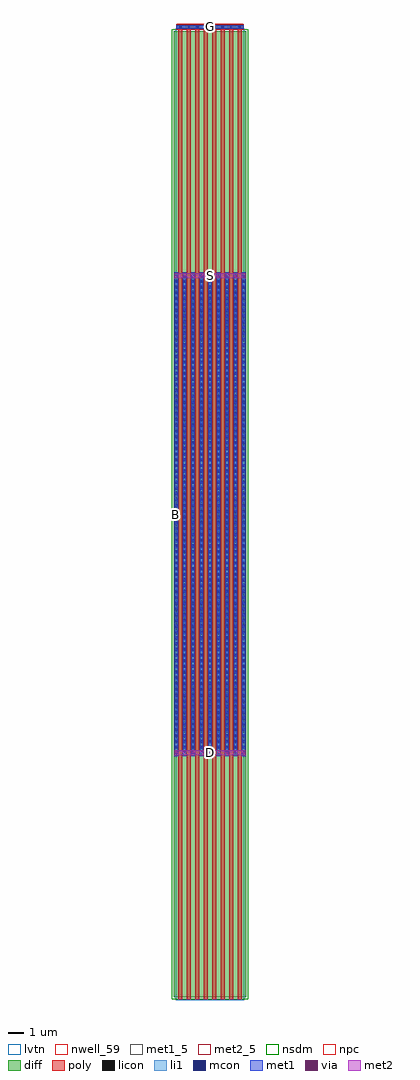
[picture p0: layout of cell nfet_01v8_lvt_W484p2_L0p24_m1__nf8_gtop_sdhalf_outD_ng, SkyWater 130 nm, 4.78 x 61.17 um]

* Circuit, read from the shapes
.subckt nfet_01v8_lvt_W484p2_L0p24_m1__nf8_gtop_sdhalf_outD_ng B D G S
XM1 S G D B sky130_fd_pr__nfet_01v8_lvt w=60.53 l=0.24 m=8
.ends

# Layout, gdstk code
import gdstk
lib = gdstk.Library(unit=1e-6, precision=1e-09)
def R(c, l, rs):  # rectangles x0, y0, x1, y1
    for r in rs: c.add(gdstk.rectangle(r[:2], r[2:], *l))
def A(c, l, x, y, w, h, nx, ny, dx, dy):  # array of equal rectangles
    R(c, l, [(x+i*dx, y+j*dy, x+i*dx+w, y+j*dy+h) for i in range(nx) for j in range(ny)])
nwell_59 = (64, 59)
diff = (65, 20)
poly = (66, 20)
licon = (66, 44)
li1 = (67, 20)
mcon = (67, 44)
met1_5 = (68, 5)
met1 = (68, 20)
via = (68, 44)
met2_5 = (69, 5)
met2 = (69, 20)
nsdm = (93, 44)
npc = (95, 20)
lvtn = (125, 44)

sky130_fd_pr__nfet_01v8_ = lib.new_cell('sky130_fd_pr__nfet_01v8_lvt_CQX9MQ')
R(sky130_fd_pr__nfet_01v8_, diff, [(-2.265,-30.42,2.265,30.11)])
A(sky130_fd_pr__nfet_01v8_, poly, -1.975, -30.55, 0.24, 60.77, 8, 1, 0.53, 0)
R(sky130_fd_pr__nfet_01v8_, poly, [(-2.12,30.22,2.12,30.55)])
A(sky130_fd_pr__nfet_01v8_, licon, -2.205, -15.2, 0.17, 0.17, 9, 89, 0.53, 0.34)
A(sky130_fd_pr__nfet_01v8_, licon, -1.94, 30.3, 0.17, 0.17, 8, 1, 0.53, 0)
A(sky130_fd_pr__nfet_01v8_, li1, -2.205, -15.335, 0.17, 30.36, 9, 1, 0.53, 0)
R(sky130_fd_pr__nfet_01v8_, li1, [(-2.12,30.3,2.12,30.47)])
A(sky130_fd_pr__nfet_01v8_, mcon, -2.205, -15.18, 0.17, 0.17, 9, 84, 0.53, 0.36)
A(sky130_fd_pr__nfet_01v8_, mcon, -1.94, 30.3, 0.17, 0.17, 8, 1, 0.53, 0)
A(sky130_fd_pr__nfet_01v8_, met1, -2.235, -15.315, 0.23, 30.32, 9, 1, 0.53, 0)
A(sky130_fd_pr__nfet_01v8_, met1, -2, 30.27, 0.29, 0.03, 8, 2, 0.53, 0.2)
R(sky130_fd_pr__nfet_01v8_, met1, [(-2.12,30.3,2.12,30.47)])
R(sky130_fd_pr__nfet_01v8_, nsdm, [(-2.39,-30.545,2.39,30.235)])
R(sky130_fd_pr__nfet_01v8_, npc, [(-2.04,30.2,2.04,30.57)])
R(sky130_fd_pr__nfet_01v8_, lvtn, [(-2.155,-30.6,2.155,30.29)])
sky130_fd_pr__nfet_01v8_.add(gdstk.Label('D0', (-2.12,-0.155), layer=67, texttype=5))
sky130_fd_pr__nfet_01v8_.add(gdstk.Label('G', (1.855,30.385), layer=67, texttype=5))
sky130_fd_pr__nfet_01v8_.add(gdstk.Label('G', (1.325,30.385), layer=67, texttype=5))
sky130_fd_pr__nfet_01v8_.add(gdstk.Label('G', (0.795,30.385), layer=67, texttype=5))
sky130_fd_pr__nfet_01v8_.add(gdstk.Label('G', (0.265,30.385), layer=67, texttype=5))
sky130_fd_pr__nfet_01v8_.add(gdstk.Label('G', (-0.265,30.385), layer=67, texttype=5))
sky130_fd_pr__nfet_01v8_.add(gdstk.Label('G', (-0.795,30.385), layer=67, texttype=5))
sky130_fd_pr__nfet_01v8_.add(gdstk.Label('G', (-1.325,30.385), layer=67, texttype=5))
sky130_fd_pr__nfet_01v8_.add(gdstk.Label('G', (-1.855,30.385), layer=67, texttype=5))
sky130_fd_pr__nfet_01v8_.add(gdstk.Label('S1', (-1.59,-0.155), layer=67, texttype=5))
sky130_fd_pr__nfet_01v8_.add(gdstk.Label('D2', (-1.06,-0.155), layer=67, texttype=5))
sky130_fd_pr__nfet_01v8_.add(gdstk.Label('S3', (-0.53,-0.155), layer=67, texttype=5))
sky130_fd_pr__nfet_01v8_.add(gdstk.Label('D4', (0,-0.155), layer=67, texttype=5))
sky130_fd_pr__nfet_01v8_.add(gdstk.Label('S5', (0.53,-0.155), layer=67, texttype=5))
sky130_fd_pr__nfet_01v8_.add(gdstk.Label('D6', (1.06,-0.155), layer=67, texttype=5))
sky130_fd_pr__nfet_01v8_.add(gdstk.Label('S7', (1.59,-0.155), layer=67, texttype=5))

nfet_01v8_lvt_w484p2_l0p = lib.new_cell('nfet_01v8_lvt_W484p2_L0p24_m1__nf8_gtop_sdhalf_outD_ng')
R(nfet_01v8_lvt_w484p2_l0p, nwell_59, [(0.05,30.345,0.15,30.445)])
R(nfet_01v8_lvt_w484p2_l0p, met1_5, [(0.145,60.82,4.385,61.05)])
A(nfet_01v8_lvt_w484p2_l0p, met1, 0.015, 15.285, 0.26, 0.32, 5, 1, 1.06, 0)
A(nfet_01v8_lvt_w484p2_l0p, met1, 0.545, 45.185, 0.26, 0.32, 4, 1, 1.06, 0)
R(nfet_01v8_lvt_w484p2_l0p, met1, [(0.145,60.82,4.385,61.05)])
A(nfet_01v8_lvt_w484p2_l0p, via, 0.07, 15.37, 0.15, 0.15, 5, 1, 1.06, 0)
A(nfet_01v8_lvt_w484p2_l0p, via, 0.6, 45.27, 0.15, 0.15, 4, 1, 1.06, 0)
R(nfet_01v8_lvt_w484p2_l0p, met2_5, [(0.01,15.285,4.52,15.605), (0.01,45.185,4.52,45.505)])
R(nfet_01v8_lvt_w484p2_l0p, met2, [(0.01,15.285,4.52,15.605), (0.01,45.185,4.52,45.505)])
nfet_01v8_lvt_w484p2_l0p.add(gdstk.Reference(sky130_fd_pr__nfet_01v8_, (2.265,30.55)))
nfet_01v8_lvt_w484p2_l0p.add(gdstk.Label('S', (2.265,45.345), layer=69, texttype=5))
nfet_01v8_lvt_w484p2_l0p.add(gdstk.Label('D', (2.265,15.445), layer=69, texttype=5))
nfet_01v8_lvt_w484p2_l0p.add(gdstk.Label('G', (2.265,60.935), layer=68, texttype=5))
nfet_01v8_lvt_w484p2_l0p.add(gdstk.Label('B', (0.1,30.395), layer=64, texttype=59))

lib.write_gds('nfet_01v8_lvt_W484p2_L0p24_m1__nf8_gtop_sdhalf_outD_ng.gds')
